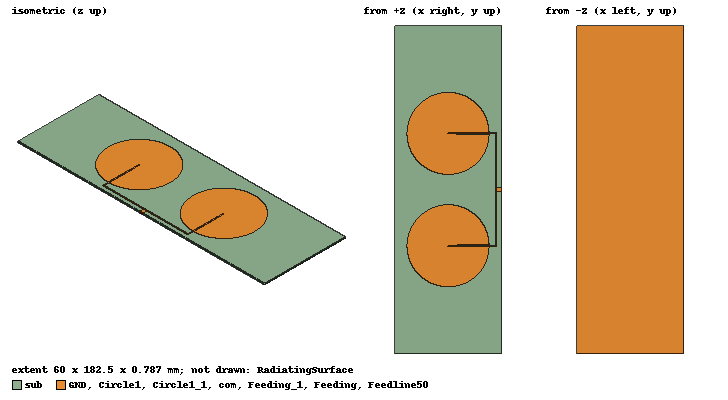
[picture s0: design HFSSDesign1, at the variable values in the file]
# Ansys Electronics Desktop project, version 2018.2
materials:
  vacuum: permittivity=1
  FR4_epoxy: permittivity=4.4 dielectric_loss_tangent=0.02
  Rogers RT/duroid 5880 (tm): permittivity=2.2 dielectric_loss_tangent=0.0009

design HFSSDesign1 (HFSS, DrivenModal, model units mm)
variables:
  wsub = 60mm
  lsub = 120mm
  hsub = 0.787mm
  rp = 22.84mm
  wg = 1mm
  cf = 5mm
  wf100 = 0.7mm
  d = 62.5mm
  lf50 = 3mm
  wf50 = 2.4mm
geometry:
  GND = rectangle(corner=(-wsub/2, -lsub/2, 0mm), x_size=wsub, y_size=lsub+d)
  sub [Rogers RT/duroid 5880 (tm)] = rectangle(corner=(-wsub/2, -lsub/2, 0mm), x_size=wsub, y_size=lsub+d)
  sub.thicken(hsub)
  coordinate_system RelativeCS1 = origin=(0mm, 0mm, hsub) x=(1mm, 0mm, 0mm) y=(0mm, 1mm, 0mm)
  Circle1 = circle(normal=Z, centre=(0mm, 0mm, 0mm), radius=rp) in RelativeCS1
  Rectangle3 = rectangle(corner=(rp, -wg/2, 0mm), x_size=-(rp-cf), y_size=wg) in RelativeCS1
  Feeding = rectangle(corner=(0mm, -wf100/2, 0mm), x_size=wsub/2-lf50-wf100, y_size=wf100) in RelativeCS1
  Circle1.subtract(Rectangle3)
  RadiatingSurface [vacuum] = region(absolute_offset=41.666667mm on all sides) in RelativeCS1
  Circle1_1 = Circle1.duplicate_along_line(step=(0mm, d, 0mm), total=2) in RelativeCS1
  Feeding_1 = Feeding.duplicate_along_line(step=(0mm, d, 0mm), total=2) in RelativeCS1
  coordinate_system RelativeCS2 = origin=(0mm, d/2, 0mm) x=(1mm, 0mm, 0mm) y=(0mm, 1mm, 0mm) in RelativeCS1
  com = rectangle(corner=(wsub/2-lf50-wf100, -wf100/2-d/2, 0mm), x_size=wf100, y_size=wf100+d) in RelativeCS2
  Feedline50 = rectangle(corner=(wsub/2, -wf50/2, 0mm), x_size=-lf50, y_size=wf50) in RelativeCS2
  Rectangle6 = rectangle(corner=(wsub/2, -wf50/2, 0mm), y_size=wf50, z_size=-hsub) in RelativeCS2
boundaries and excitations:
  PerfE1: Perfect E Objects=GND
  PerfE2: Perfect E Objects=Circle1
  PerfE3: Perfect E Objects=Feeding
  Open1: Radiation Objects=RadiatingSurface
  PerfE4: Perfect E Objects=Feeding_1
  PerfE5: Perfect E Objects=Circle1_1
  PerfE6: Perfect E Objects=com
  PerfE7: Perfect E Objects=Feedline50
  1: Lumped Port Objects=Rectangle6 Modes{Mode1{IntLine{middle of Rectangle6.edge(3 of 4) -> middle of Rectangle6.edge(1 of 4)} CharImp=Zpi RenormImp=50ohm}} Impedance=50ohm
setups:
  Setup1: HfssDriven Frequency=2.4GHz MaxDeltaS=0.02 MaximumPasses=20 MinimumPasses=1 MinimumConvergedPasses=1 PercentRefinement=30 BasisOrder=1 PortAccuracy=2
    sweep Sweep: 2GHz to 3GHz step 0.02GHz; Type=Fast SaveFields
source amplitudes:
  1:1: 1W 0deg
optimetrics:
  ParametricSetup1: Parametric Sim._Setups=[Setup1]
    sweep rp: LIN 20mm 30mm 0.5mm
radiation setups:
  3D: Infinite Sphere Theta=-180deg..180deg step 2deg Phi=-180deg..180deg step 2deg CoordSystem=RelativeCS1
  Elevation: Infinite Sphere Theta=-180deg..180deg step 1deg Phi=0deg..90deg step 90deg CoordSystem=RelativeCS1
  Azimuth: Infinite Sphere Theta=90deg..90deg step 0deg Phi=-180deg..180deg step 1deg CoordSystem=RelativeCS1
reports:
  S Parameter Plot 1: dB(S(1,1)) vs Freq on Setup1 : Sweep
  Gain Plot 1: dB(GainTotal) vs Theta on Setup1 : LastAdaptive, 3D [Phi=0deg Freq=2.4GHz]; markers m1 at 0deg, m2 at -44deg, m3 at 44deg
  Gain Plot 2: dB(GainTotal) vs Theta on Setup1 : LastAdaptive, 3D [Phi=90deg Freq=2.4GHz]; markers m1 at 0deg, m2 at -24deg, m3 at 24deg
  S Parameter Plot 2: dB(S(1,1)) vs Freq on Setup1 : Sweep [rp=all]
